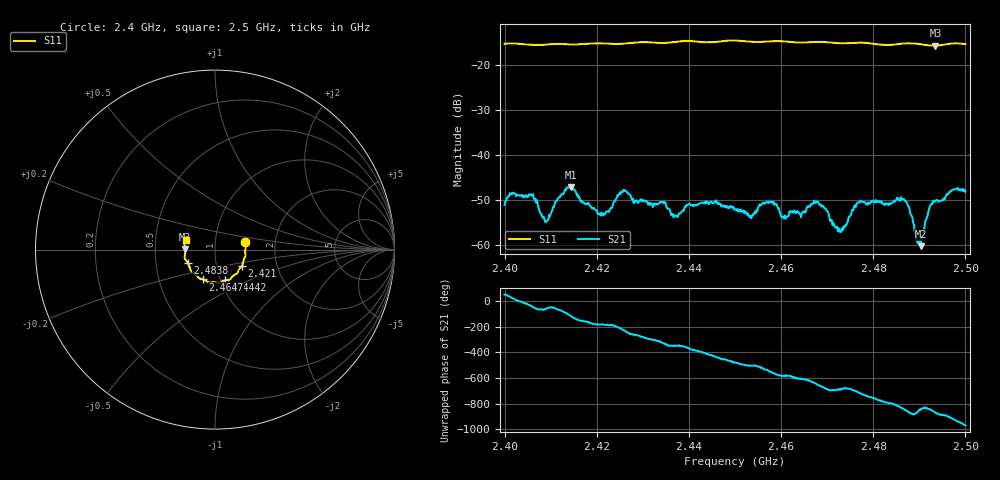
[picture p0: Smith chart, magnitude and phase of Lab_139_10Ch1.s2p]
# Hz S RI R 50
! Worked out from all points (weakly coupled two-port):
!   601 points, 2.4 GHz to 2.5 GHz, reference 50 ohm
!   highest |S21| = -47.15 dB at 2.4143 GHz (marker M1); lowest = -60.3 dB at 2.4903 GHz (marker M2)
!   lowest |S11| = -15.6 dB at 2.4935 GHz (marker M3), VSWR 1.40, Z = 35.8 + j0.2 ohm
!   |S11| at or under -10 dB: start of sweep to end of sweep
!   S12 and S22 are empty: the file has one direction only
!   S11 on the Smith chart (normalised r, x): 2.4 GHz: 1.40, +0.12; 2.421 GHz: 1.33, -0.24; 2.4442 GHz: 1.05, -0.37; 2.4647 GHz: 0.83, -0.29; 2.4838 GHz: 0.73, -0.11; 2.5 GHz: 0.71, +0.08
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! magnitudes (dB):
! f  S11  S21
! 2.4 GHz  -15.2  -51.1
! 2.4058 GHz  -15.4  -49.0
! 2.409 GHz  -15.4  -54.8
! 2.4143 GHz  -15.4  -47.2
! 2.4167 GHz  -15.3  -50.5
! 2.421 GHz  -15.1  -52.8
! 2.4258 GHz  -15.2  -47.7
! 2.4333 GHz  -15.0  -51.0
! 2.4372 GHz  -14.8  -53.5
! 2.4442 GHz  -14.9  -50.8
! 2.45 GHz  -14.5  -52.1
! 2.4573 GHz  -14.7  -50.7
! 2.4647 GHz  -14.9  -52.8
! 2.4667 GHz  -14.8  -50.8
! 2.4728 GHz  -15.1  -57.2
! 2.477 GHz  -15.0  -50.5
! 2.4833 GHz  -15.5  -51.2
! 2.4838 GHz  -15.5  -50.8
! 2.487 GHz  -15.1  -50.3
! 2.4903 GHz  -15.3  -60.3
! 2.4935 GHz  -15.6  -50.2
! 2.5 GHz  -15.3  -48.2
